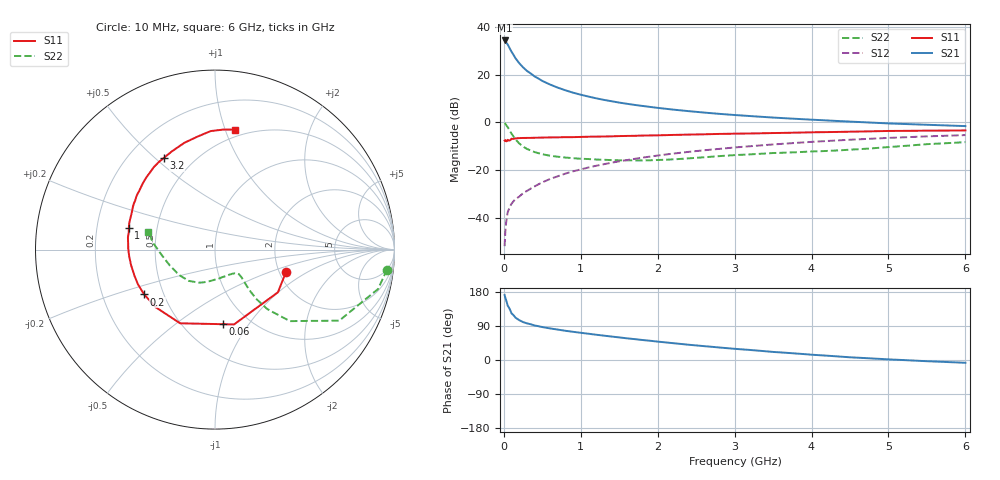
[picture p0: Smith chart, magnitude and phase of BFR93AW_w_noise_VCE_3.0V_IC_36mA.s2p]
! Infineon Technologies  Discrete & RF Semiconductors
! BFR93AW
! VCE =  3.0 V,  IC =  36 mA
! Common Emitter S-Parameters:  Jan 2017
# GHz  S  MA  R  50
!  f  S11  S21  S12  S22
! GHz  MAG  ANG  MAG  ANG  MAG  ANG  MAG  ANG
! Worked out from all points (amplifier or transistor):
!   77 points, 10 MHz to 6 GHz, reference 50 ohm
!   highest |S21| = 34.5 dB at 10 MHz (marker M1)
!   |S21| within 3 dB of that: start of sweep to 71.37 MHz
!   unconditionally stable (mu >= 1): 487.5 MHz to 2.077 GHz
!   at 130 MHz: K = 0.59, MSG = 30.6 dB, |S12| = -33.0 dB
!   at 2.2 GHz: K = 0.99, MSG = 9.3 dB, |S12| = -13.1 dB
!   at 6 GHz: K = 0.90, MSG = 1.9 dB, |S12| = -5.3 dB
!   lowest NFmin = 1.95 dB at 450 MHz
!   S11 on the Smith chart (normalised r, x): 10 MHz: 2.17, -0.66; 60 MHz: 0.76, -0.77; 200 MHz: 0.39, -0.25; 1 GHz: 0.34, +0.11; 3.2 GHz: 0.34, +0.53; 6 GHz: 0.44, +1.08
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0.01  0.4148 -17.6  52.8 171.5  0.0025 81.9  0.965 -6.6
0.02  0.4237 -34.1  51.66 163.8  0.0053 83.0  0.9346 -13.6
0.05  0.4302 -75.7  43.42 143.4  0.0129 68.4  0.7972 -29.8
0.06  0.4182 -83.7  40.52 140.4  0.0142 66.4  0.7503 -31.9
0.1  0.4542 -115.3  30.56 123.0  0.0195 61.0  0.577 -43.7
0.15  0.4606 -135.7  22.5 112.0  0.0243 58.5  0.4405 -48.7
0.2  0.4671 -147.7  17.58 105.1  0.0275 62.5  0.3615 -50.0
0.25  0.471 -155.7  14.38 100.1  0.0326 62.6  0.3114 -49.8
0.3  0.4717 -161.7  12.11 96.7  0.0362 64.7  0.277 -49.1
0.4  0.4757 -169.6  9.252 91.1  0.0451 67.8  0.2372 -47.5
0.5  0.4796 -175.7  7.449 86.9  0.0549 69.0  0.214 -46.3
0.6  0.4832 179.7  6.258 83.4  0.0646 70.0  0.1994 -45.9
0.7  0.4853 175.8  5.386 80.3  0.0736 71.0  0.1898 -45.9
1  0.495 166.0  3.82 71.8  0.1028 70.8  0.1722 -49.7
1.1  0.5 162.9  3.49 69.3  0.1128 70.5  0.1697 -51.6
1.5  0.5152 152.8  2.609 59.6  0.152 68.2  0.1598 -62.7
2.1  0.5396 139.8  1.938 46.5  0.2109 63.3  0.164 -85.7
3.1  0.5819 121.0  1.395 28.0  0.3061 53.6  0.2087 -119.2
3.2  0.5849 119.2  1.36 26.5  0.3154 52.6  0.2126 -122.0
4.1  0.6219 104.5  1.12 12.7  0.398 43.0  0.2475 -147.9
5.1  0.6621 90.8  0.939 0.7  0.4791 31.8  0.3109 -178.0
6  0.678 80.4  0.836 -7.4  0.5406 21.8  0.3841 165.0
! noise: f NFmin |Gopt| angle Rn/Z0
0.45  1.95  0.21  178  0.16
0.9  2.22  0.28  -172  0.17
1.9  3.28  0.52  -134  0.32
2.4  3.96  0.56  -123  0.61
